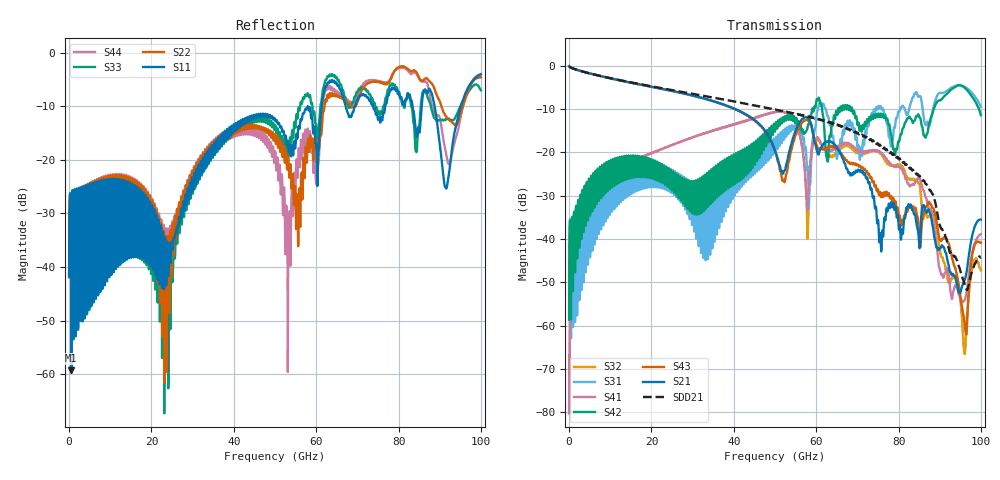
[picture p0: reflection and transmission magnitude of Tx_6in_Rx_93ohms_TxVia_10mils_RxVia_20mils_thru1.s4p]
! Info: Touchstone file created by Circ.  Input file=Tx_6in_Rx_93ohms_TxVia_10mils_RxVia_20mils.circ
# Hz S RI R 50
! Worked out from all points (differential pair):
!   10000 points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, 10 MHz to 100 GHz, reference 50 ohm
!   strongest paths, dB at 10 MHz, 25.01 GHz, 50.01 GHz, 75.01 GHz, 100 GHz:
!     S21: -0.1, -5.8, -19.6, -35.6, -35.5
!     S43: -0.1, -5.8, -19.8, -28.6, -40.8
!     S42: -58.6, -28.1, -15.2, -11.2, -11.4
!     S41: -80.2, -18.3, -10.6, -19.6, -38.8
!     S31: -58.6, -28.1, -19.9, -9.6, -9.5
!     S32: -80.2, -18.3, -10.6, -19.9, -47.2
!   taken as a pair (ports 1,3 in; 2,4 out), SDD21 dB: -0.1, -5.6, -10.1, -18.0, -44.2
!   lowest |S11| = -59.3 dB at 540 MHz (marker M1), VSWR 1.00, Z = 49.9 + j0.000944 ohm
!   |S11| at or under -10 dB: start of sweep to 57.93 GHz; 58.03 GHz to 61.4 GHz (3.363 GHz wide, 5.63 % of centre); 88.77 GHz to 95.13 GHz (6.353 GHz wide, 6.91 % of centre) (the widest 3 of 6)
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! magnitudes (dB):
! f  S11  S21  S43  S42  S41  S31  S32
! 10 MHz  -41.7  -0.1  -0.1  -58.6  -80.2  -58.6  -80.2
! 540 MHz  -59.3  -0.4  -0.4  -42.4  -47.8  -42.5  -47.8
! 24.09 GHz  -41.7  -5.6  -5.6  -23.9  -18.6  -23.6  -18.6
! 50.85 GHz  -13.1  -22.2  -22.3  -12.6  -10.6  -15.9  -10.6
! 84.69 GHz  -14.5  -37.9  -35.0  -11.3  -26.0  -7.1  -26.9
! 96.22 GHz  -7.6  -49.0  -60.9  -5.2  -53.7  -4.9  -65.1
! 100 GHz  -4.0  -35.5  -40.8  -11.4  -38.8  -9.5  -47.2
